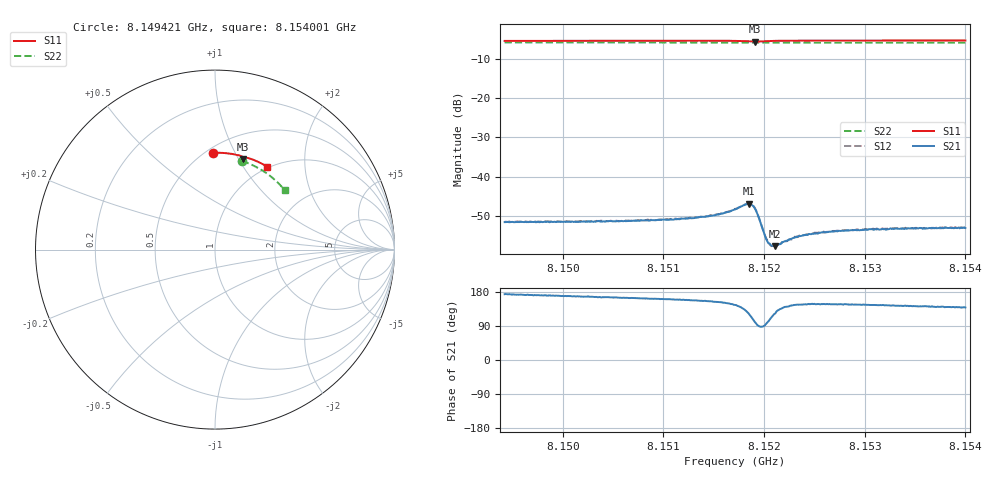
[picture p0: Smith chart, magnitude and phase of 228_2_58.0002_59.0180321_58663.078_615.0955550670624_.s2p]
#  HZ  S  RI  R  50.00
! Rohde & Schwarz Vector Network Analyzer
! Rohde-Schwarz,ZNB20-2Port,1311601062101988,3.16
! Created: UTC 3/21/2024, 1:00:26 AM
! freq[Hz]  re:S11  im:S11  re:S21  im:S21  re:S12  im:S12  re:S22  im:S22
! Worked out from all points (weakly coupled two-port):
!   401 points, 8.149421 GHz to 8.154001 GHz, reference 50 ohm
!   highest |S21| = -46.92 dB at 8.151848 GHz (marker M1); lowest = -57.7 dB at 8.152112 GHz (marker M2)
!   lowest |S11| = -5.6 dB at 8.151906 GHz (marker M3), VSWR 3.23, Z = 37.3 + j52.1 ohm
!   |S11| at or under -10 dB: nowhere
!   |S22| runs from -5.8 to -5.7 dB; largest |S21 - S12| = 0.00012
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8.1494208e9  -0.0103 0.5389  -0.00261 0.000292  -0.00265 0.000378  0.1499 0.4935
8.150188e9  0.0434 0.5386  -0.00261 0.000579  -0.00263 0.000637  0.1966 0.4762
8.1509552e9  0.097 0.5327  -0.00265 0.000898  -0.00267 0.000959  0.241 0.4542
8.1512873e9  0.1204 0.5282  -0.00272 0.00114  -0.00275 0.00117  0.2595 0.4435
8.1514247e9  0.1303 0.5259  -0.00283 0.00129  -0.00283 0.00132  0.2669 0.4387
8.1515736e9  0.1413 0.5226  -0.00299 0.00156  -0.00299 0.00163  0.275 0.4335
8.151711e9  0.1521 0.518  -0.00314 0.00217  -0.00317 0.00224  0.2825 0.4284
8.1518026e9  0.1584 0.5116  -0.003 0.00313  -0.00297 0.00323  0.2871 0.4249
8.1518484e9  0.1594 0.5071  -0.00241 0.00381  -0.00233 0.00391  0.2894 0.423
8.1518827e9  0.1575 0.5045  -0.00146 0.00405  -0.0014 0.00412  0.291 0.4218
8.1519056e9  0.1557 0.5042  -0.000774 0.00391  -0.000723 0.00399  0.2921 0.421
8.15194e9  0.1538 0.5062  -4.44e-05 0.0032  -3.97e-05 0.00318  0.2937 0.4198
8.1519972e9  0.1561 0.5111  1.42e-05 0.00196  4.4e-05 0.00194  0.2968 0.418
8.1520316e9  0.159 0.5127  -0.000225 0.00148  -0.000185 0.00155  0.2986 0.4167
8.1520659e9  0.1622 0.5135  -0.000458 0.00125  -0.000445 0.00125  0.3006 0.4154
8.1521118e9  0.1665 0.5137  -0.00071 0.00109  -0.000729 0.00108  0.3028 0.4137
8.152295e9  0.1814 0.5113  -0.00136 0.000947  -0.00136 0.000956  0.3122 0.4064
8.1523293e9  0.184 0.5106  -0.0014 0.000942  -0.00142 0.001  0.3138 0.4051
8.1524782e9  0.1946 0.5072  -0.00159 0.000984  -0.00156 0.00105  0.3212 0.3991
8.1527759e9  0.2147 0.5  -0.00172 0.00112  -0.00171 0.00116  0.3356 0.3866
8.1532454e9  0.2448 0.4868  -0.00174 0.00127  -0.0017 0.00128  0.3573 0.3657
8.1540011e9  0.2912 0.4619  -0.00165 0.00147  -0.00165 0.0015  0.3892 0.3299
